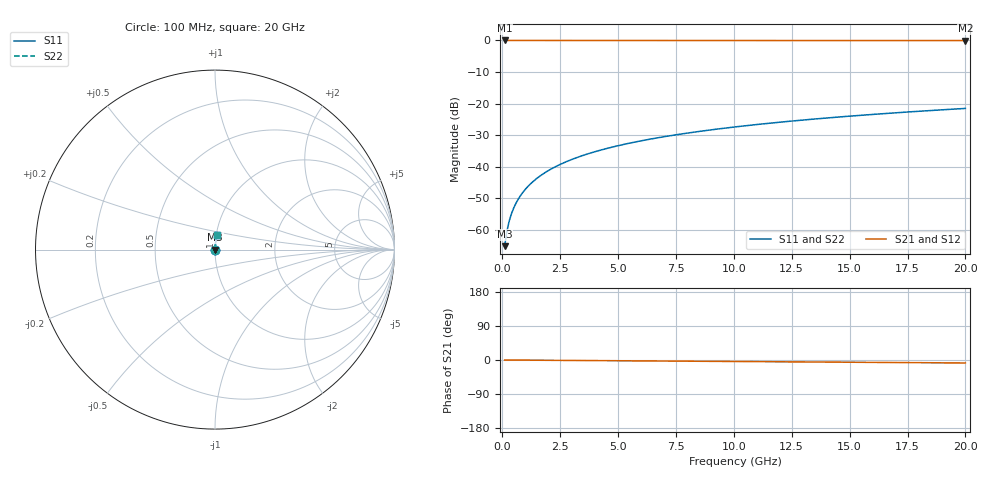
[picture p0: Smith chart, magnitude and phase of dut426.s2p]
! Touchstone file exported from HFSS 2026.1.0
!  File:  C:/ffzhzh/LocalFiles/Ansys_Project_Files/temp_train_TSV_426_1783021020_51716.aedt
!  Generated:  03:39:17 AM Jul  3, 2026
!  Design:  TSV
!  Project:  temp_train_TSV_426_1783021020_51716
! Variables:
!  h_bsmrdl = 2um
!  h_ox = 20um
!  h_rdl = 5um
!  h_sub = 52.96um
!  h_tmrdl = 5um
!  h_tsv = 52.96um
!  h_via = 3um
!  l_bsmrdl = 300um
!  l_sub = 409.28um
!  l_tmrdl = 200um
!  m_sub = 200um
!  pitch = 54.32um
!  r_tsv = 4.64um
!  s_tmrdl = 10um
!  w_bsmrdl = 18um
!  w_sub = 500um
!  w_tmrdl = 12um
!  x_tsv_center1 = 206um
!  x_tsv_center2 = 524um
!  x_tsv_center3 = 736um
!  x_tsv_center4 = 1054um
!  x_tsv_center5 = 1266um
!  x_tsv_center6 = 1584um
# GHz S MA R 50.000000
! Terminal data exported
! Port[1] = TSV1_1_T1
! Port[2] = TSV1_1_T2
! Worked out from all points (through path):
!   200 points, 100 MHz to 20 GHz, reference 50 ohm
!   highest |S21| = 0.00 dB at 100 MHz (marker M1); lowest = 0.0 dB at 20 GHz (marker M2)
!   group delay of S21, straight-line fit = 1.09 ps
!   lowest |S11| = -65.2 dB at 100 MHz (marker M3), VSWR 1.00, Z = 50 + j0.0452 ohm
!   |S11| at or under -10 dB: start of sweep to end of sweep
!   |S22| runs from -65.2 to -21.5 dB; largest |S21 - S12| = 3.7e-15
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0.1  0.0005513 55.0  0.9997 -0.0  0.9997 -0.0  0.0005513 55.0
! Gamma 0 0 0 0
! Port Impedance 50 0 50 0
0.2  0.0009568 70.1  0.9997 -0.1  0.9997 -0.1  0.0009568 70.1
0.3  0.001385 75.8  0.9997 -0.1  0.9997 -0.1  0.001385 75.8
0.4  0.001816 78.8  0.9997 -0.2  0.9997 -0.2  0.001816 78.8
0.5  0.002248 80.6  0.9996 -0.2  0.9996 -0.2  0.002248 80.6
0.7  0.003111 82.8  0.9996 -0.3  0.9996 -0.3  0.003111 82.8
0.8  0.003542 83.4  0.9996 -0.3  0.9996 -0.3  0.003542 83.4
1  0.004406 84.4  0.9996 -0.4  0.9996 -0.4  0.004406 84.4
1.2  0.00527 85.0  0.9996 -0.5  0.9996 -0.5  0.00527 85.0
1.4  0.006135 85.4  0.9995 -0.6  0.9995 -0.6  0.006135 85.4
1.7  0.007431 85.8  0.9995 -0.7  0.9995 -0.7  0.007431 85.8
2  0.008725 86.1  0.9995 -0.8  0.9995 -0.8  0.008725 86.1
2.7  0.01173 86.3  0.9994 -1.1  0.9994 -1.1  0.01173 86.3
3.5  0.01516 86.3  0.9993 -1.4  0.9993 -1.4  0.01516 86.3
4.2  0.01813 86.1  0.9991 -1.7  0.9991 -1.7  0.01813 86.1
5  0.02152 86.0  0.999 -2.0  0.999 -2.0  0.02152 86.0
6.8  0.02909 85.5  0.9987 -2.7  0.9987 -2.7  0.02909 85.5
8.3  0.03537 85.1  0.9984 -3.3  0.9984 -3.3  0.03537 85.1
10.1  0.04288 84.5  0.998 -4.0  0.998 -4.0  0.04288 84.5
13.4  0.0566 83.4  0.9971 -5.3  0.9971 -5.3  0.0566 83.4
16.7  0.07025 82.3  0.9961 -6.6  0.9961 -6.6  0.07025 82.3
20  0.08381 81.1  0.9949 -7.8  0.9949 -7.8  0.08381 81.1
